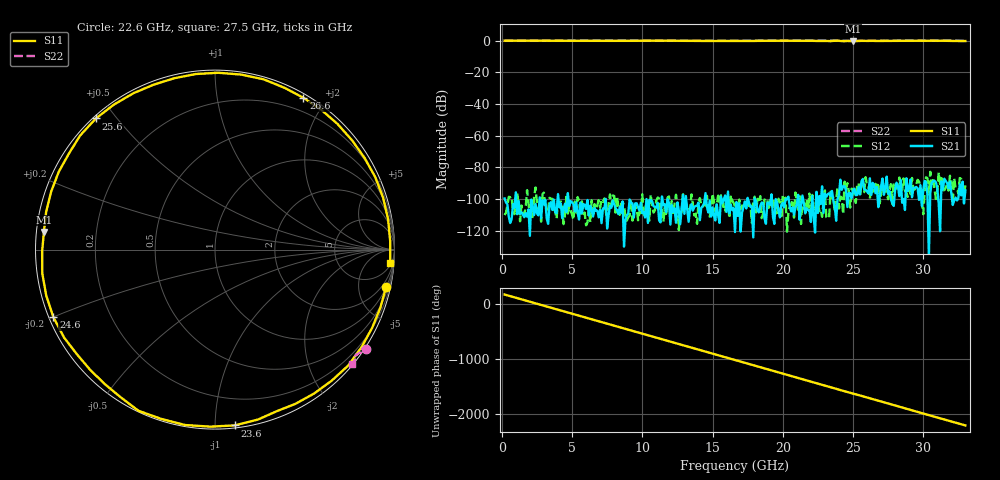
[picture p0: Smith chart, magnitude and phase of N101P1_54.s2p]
# GHZ S RI R 50
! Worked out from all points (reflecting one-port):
!   329 points, 200 MHz to 33 GHz, reference 50 ohm
!   lowest |S11| = -0.4 dB at 25 GHz (marker M1), VSWR 46.86, Z = 1.07 + j2.57 ohm
!   phase of S11 starts at 165 deg and turns -2368 deg over the sweep
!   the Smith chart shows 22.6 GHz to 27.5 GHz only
!   S11 on the Smith chart (normalised r, x): 22.6 GHz: 1.04, -9.09; 23.6 GHz: 0.02, -1.12; 24.6 GHz: 0.01, -0.20; 25.6 GHz: 0.01, +0.44; 26.6 GHz: 0.04, +1.74; 27.5 GHz: 7, -24
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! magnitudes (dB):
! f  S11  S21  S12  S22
! 200 MHz  0.0  -99.7  -110.2  0.0
! 5.7 GHz  -0.1  -109.2  -101.6  -0.1
! 11.2 GHz  0.0  -113.6  -99.7  0.0
! 16.6 GHz  -0.2  -121.0  -105.0  -0.1
! 20.4 GHz  0.0  -98.6  -108.7  0.1
! 22.1 GHz  -0.1  -98.1  -97.5  0.1
! 22.6 GHz  -0.2  -98.1  -107.7  0.1
! 23 GHz  -0.1  -96.6  -94.6  0.0
! 23.4 GHz  -0.3  -98.2  -95.5  -0.1
! 23.6 GHz  -0.1  -101.1  -99.1  0.0
! 24 GHz  -0.1  -97.5  -106.1  0.0
! 24.3 GHz  -0.3  -92.1  -109.7  -0.1
! 24.6 GHz  -0.2  -105.2  -90.1  -0.1
! 25 GHz  -0.4  -94.6  -95.5  -0.2
! 25.6 GHz  -0.1  -88.9  -89.8  -0.2
! 26.6 GHz  -0.2  -96.4  -90.5  -0.1
! 27.5 GHz  -0.2  -96.9  -100.2  -0.1
! 27.6 GHz  -0.2  -95.1  -94.9  -0.1
! 28.7 GHz  -0.1  -107.0  -94.9  0.1
! 30.6 GHz  0.0  -89.9  -90.8  0.0
! 32 GHz  -0.2  -96.5  -88.3  0.1
! 33 GHz  -0.2  -94.6  -91.4  -0.2
